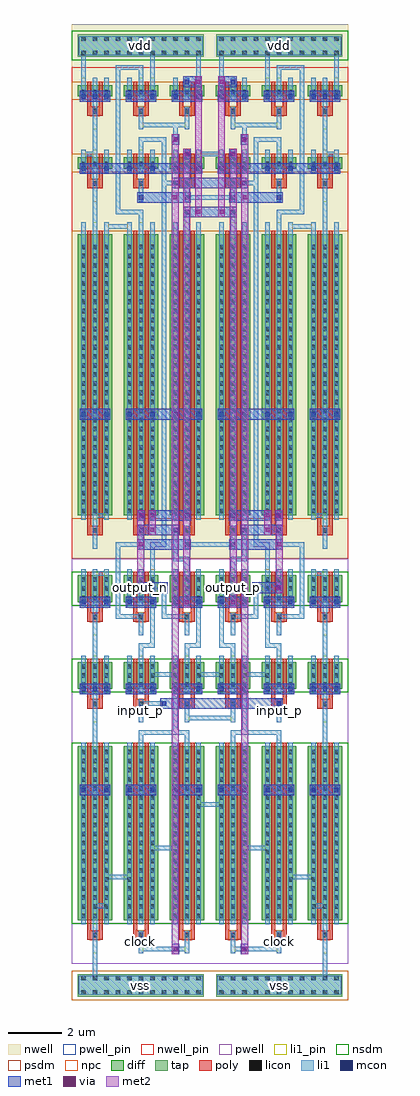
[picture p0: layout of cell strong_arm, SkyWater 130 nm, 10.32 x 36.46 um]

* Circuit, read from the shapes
.subckt strong_arm clock input_n input_p output_n output_p vdd vss
XM1 vss vss vss vss sky130_fd_pr__nfet_01v8 w=6.5 l=0.15 m=4
XM2 vss vss vss vss sky130_fd_pr__nfet_01v8 w=1 l=0.15 m=8
XM3 strong_arm_half_0/tail_d clock vss vss sky130_fd_pr__nfet_01v8 w=6.5 l=0.15 m=8
XM4 strong_arm_half_0/input_d_n input_p strong_arm_half_0/tail_d vss sky130_fd_pr__nfet_01v8 w=1 l=0.15 m=4
XM5 output_n output_p strong_arm_half_0/input_d_n vss sky130_fd_pr__nfet_01v8 w=1 l=0.15 m=4
XM6 strong_arm_half_0/input_d_p input_n strong_arm_half_0/tail_d vss sky130_fd_pr__nfet_01v8 w=1 l=0.15 m=2
XM7 output_p output_n strong_arm_half_0/input_d_p vss sky130_fd_pr__nfet_01v8 w=1 l=0.15 m=2
XM8 strong_arm_half_1/input_d_p input_n strong_arm_half_0/tail_d vss sky130_fd_pr__nfet_01v8 w=1 l=0.15 m=2
XM9 output_p output_n strong_arm_half_1/input_d_p vss sky130_fd_pr__nfet_01v8 w=1 l=0.15 m=2
XM10 vdd vdd vdd vdd sky130_fd_pr__pfet_01v8 w=10.5 l=0.15 m=4
XM11 vdd vdd vdd vdd sky130_fd_pr__pfet_01v8 w=0.42 l=0.15 m=8
XM12 output_n output_p vdd vdd sky130_fd_pr__pfet_01v8 w=10.5 l=0.15 m=4
XM13 strong_arm_half_0/input_d_n clock vdd vdd sky130_fd_pr__pfet_01v8 w=0.42 l=0.15 m=4
XM14 output_n clock vdd vdd sky130_fd_pr__pfet_01v8 w=0.42 l=0.15 m=4
XM15 output_p output_n vdd vdd sky130_fd_pr__pfet_01v8 w=10.5 l=0.15 m=4
XM16 strong_arm_half_0/input_d_p clock vdd vdd sky130_fd_pr__pfet_01v8 w=0.42 l=0.15 m=2
XM17 output_p clock vdd vdd sky130_fd_pr__pfet_01v8 w=0.42 l=0.15 m=4
XM18 strong_arm_half_1/input_d_p clock vdd vdd sky130_fd_pr__pfet_01v8 w=0.42 l=0.15 m=2
.ends

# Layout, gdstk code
from math import pi, radians
import gdstk
lib = gdstk.Library(unit=1e-6, precision=1e-09)
def R(c, l, rs):  # rectangles x0, y0, x1, y1
    for r in rs: c.add(gdstk.rectangle(r[:2], r[2:], *l))
def A(c, l, x, y, w, h, nx, ny, dx, dy):  # array of equal rectangles
    R(c, l, [(x+i*dx, y+j*dy, x+i*dx+w, y+j*dy+h) for i in range(nx) for j in range(ny)])
nwell_pin = (64, 16)
nwell = (64, 20)
pwell = (64, 44)
diff = (65, 20)
tap = (65, 44)
poly = (66, 20)
licon = (66, 44)
li1_pin = (67, 16)
li1 = (67, 20)
mcon = (67, 44)
met1 = (68, 20)
via = (68, 44)
met2 = (69, 20)
nsdm = (93, 44)
psdm = (94, 20)
npc = (95, 20)
pwell_pin = (122, 16)

ptap_tile_x11_y2 = lib.new_cell('ptap_tile_x11_y2')
R(ptap_tile_x11_y2, tap, [(-0.205,-0.15,4.505,0.69)])
A(ptap_tile_x11_y2, licon, -0.085, -0.085, 0.17, 0.17, 11, 2, 0.43, 0.54)
R(ptap_tile_x11_y2, li1_pin, [(-0.165,-0.085,4.465,0.625)])
R(ptap_tile_x11_y2, li1, [(-0.165,-0.085,4.465,0.625)])
R(ptap_tile_x11_y2, psdm, [(-0.43,-0.28,4.73,0.82)])
ptap_tile_x11_y2.add(gdstk.Label('vnb', (2.15,0.27), layer=67, texttype=5))

ptap_tile = lib.new_cell('ptap_tile')
R(ptap_tile, li1_pin, [(-0.165,-0.085,4.465,0.625)])
ptap_tile.add(gdstk.Reference(ptap_tile_x11_y2, (0,0)))
ptap_tile.add(gdstk.Label('x', (2.15,0.27), layer=67, texttype=5))

ntap_tile_x11_y2 = lib.new_cell('ntap_tile_x11_y2')
R(ntap_tile_x11_y2, nwell, [(-0.43,-0.54,4.73,1.08)])
R(ntap_tile_x11_y2, tap, [(-0.205,-0.15,4.505,0.69)])
A(ntap_tile_x11_y2, licon, -0.085, -0.085, 0.17, 0.17, 11, 2, 0.43, 0.54)
R(ntap_tile_x11_y2, li1_pin, [(-0.165,-0.085,4.465,0.625)])
R(ntap_tile_x11_y2, li1, [(-0.165,-0.085,4.465,0.625)])
R(ntap_tile_x11_y2, nsdm, [(-0.43,-0.28,4.73,0.82)])
ntap_tile_x11_y2.add(gdstk.Label('vpb', (2.15,0.27), layer=67, texttype=5))

ntap_tile = lib.new_cell('ntap_tile')
R(ntap_tile, li1_pin, [(-0.165,-0.085,4.465,0.625)])
ntap_tile.add(gdstk.Reference(ntap_tile_x11_y2, (0,0)))
ntap_tile.add(gdstk.Label('x', (2.15,0.27), layer=67, texttype=5))

nmos_tile_w6500_l150_nf2 = lib.new_cell('nmos_tile_w6500_l150_nf2')
R(nmos_tile_w6500_l150_nf2, pwell, [(0,-1.62,1.72,7.02)])
R(nmos_tile_w6500_l150_nf2, diff, [(0.215,0,1.505,6.5)])
R(nmos_tile_w6500_l150_nf2, poly, [(0.57,-0.735,0.945,-0.385), (0.57,-0.735,0.72,6.63), (0.775,-0.735,1.15,-0.385), (1,-0.735,1.15,6.63)])
A(nmos_tile_w6500_l150_nf2, licon, 0.345, 0.08, 0.17, 0.17, 3, 19, 0.43, 0.34)
R(nmos_tile_w6500_l150_nf2, licon, [(0.775,-0.645,0.945,-0.475)])
A(nmos_tile_w6500_l150_nf2, li1_pin, 0.345, -0.155, 0.17, 6.79, 3, 1, 0.43, 0)
R(nmos_tile_w6500_l150_nf2, li1_pin, [(0.775,-1.235,0.945,-0.385)])
A(nmos_tile_w6500_l150_nf2, li1, 0.345, -0.155, 0.17, 6.79, 3, 1, 0.43, 0)
R(nmos_tile_w6500_l150_nf2, li1, [(0.775,-1.235,0.945,-0.385)])
R(nmos_tile_w6500_l150_nf2, nsdm, [(0,-0.13,1.72,6.63)])
R(nmos_tile_w6500_l150_nf2, npc, [(0.675,-0.745,1.045,-0.375)])
R(nmos_tile_w6500_l150_nf2, pwell_pin, [(0,-1.62,1.72,7.02)])
nmos_tile_w6500_l150_nf2.add(gdstk.Label('sd_0', (0.43,3.24), layer=67, texttype=5))
nmos_tile_w6500_l150_nf2.add(gdstk.Label('sd_1', (0.86,3.24), layer=67, texttype=5))
nmos_tile_w6500_l150_nf2.add(gdstk.Label('sd_2', (1.29,3.24), layer=67, texttype=5))
nmos_tile_w6500_l150_nf2.add(gdstk.Label('g_0', (0.86,-0.81), layer=67, texttype=5))
nmos_tile_w6500_l150_nf2.add(gdstk.Label('b', (0.86,2.7), layer=64, texttype=59))

two_finger_mos_tile = lib.new_cell('two_finger_mos_tile')
A(two_finger_mos_tile, li1_pin, 0.345, -0.155, 0.17, 6.79, 3, 1, 0.43, 0)
R(two_finger_mos_tile, li1_pin, [(0.775,-1.235,0.945,-0.385)])
R(two_finger_mos_tile, li1, [(0.345,4.775,0.515,4.945), (0.345,4.775,0.515,4.945), (1.205,4.775,1.375,4.945), (1.205,4.775,1.375,4.945)])
R(two_finger_mos_tile, mcon, [(0.345,4.775,0.515,4.945), (1.205,4.775,1.375,4.945)])
R(two_finger_mos_tile, met1, [(0.285,4.66,0.575,5.06), (0.345,4.66,0.945,5.06), (0.775,4.66,1.375,5.06), (1.145,4.66,1.435,5.06)])
R(two_finger_mos_tile, pwell_pin, [(0,-1.62,1.72,7.02)])
two_finger_mos_tile.add(gdstk.Reference(nmos_tile_w6500_l150_nf2, (0,0)))
two_finger_mos_tile.add(gdstk.Label('d', (0.86,3.24), layer=67, texttype=5))
two_finger_mos_tile.add(gdstk.Label('g', (0.86,-0.81), layer=67, texttype=5))
two_finger_mos_tile.add(gdstk.Label('s', (1.29,3.24), layer=67, texttype=5))
two_finger_mos_tile.add(gdstk.Label('s', (0.43,3.24), layer=67, texttype=5))
two_finger_mos_tile.add(gdstk.Label('b', (0.86,2.7), layer=64, texttype=59))

nmos_tile_w1000_l150_nf2 = lib.new_cell('nmos_tile_w1000_l150_nf2')
R(nmos_tile_w1000_l150_nf2, pwell, [(0,-1.62,1.72,1.62)])
R(nmos_tile_w1000_l150_nf2, diff, [(0.215,0,1.505,1)])
R(nmos_tile_w1000_l150_nf2, poly, [(0.57,-0.735,0.945,-0.385), (0.57,-0.735,0.72,1.13), (0.775,-0.735,1.15,-0.385), (1,-0.735,1.15,1.13)])
A(nmos_tile_w1000_l150_nf2, licon, 0.345, 0.08, 0.17, 0.17, 3, 3, 0.43, 0.34)
R(nmos_tile_w1000_l150_nf2, licon, [(0.775,-0.645,0.945,-0.475)])
A(nmos_tile_w1000_l150_nf2, li1_pin, 0.345, -0.155, 0.17, 1.39, 3, 1, 0.43, 0)
R(nmos_tile_w1000_l150_nf2, li1_pin, [(0.775,-1.235,0.945,-0.385)])
A(nmos_tile_w1000_l150_nf2, li1, 0.345, -0.155, 0.17, 1.39, 3, 1, 0.43, 0)
R(nmos_tile_w1000_l150_nf2, li1, [(0.775,-1.235,0.945,-0.385)])
R(nmos_tile_w1000_l150_nf2, nsdm, [(0,-0.13,1.72,1.13)])
R(nmos_tile_w1000_l150_nf2, npc, [(0.675,-0.745,1.045,-0.375)])
R(nmos_tile_w1000_l150_nf2, pwell_pin, [(0,-1.62,1.72,1.62)])
nmos_tile_w1000_l150_nf2.add(gdstk.Label('sd_0', (0.43,0.54), layer=67, texttype=5))
nmos_tile_w1000_l150_nf2.add(gdstk.Label('sd_1', (0.86,0.54), layer=67, texttype=5))
nmos_tile_w1000_l150_nf2.add(gdstk.Label('sd_2', (1.29,0.54), layer=67, texttype=5))
nmos_tile_w1000_l150_nf2.add(gdstk.Label('g_0', (0.86,-0.81), layer=67, texttype=5))
nmos_tile_w1000_l150_nf2.add(gdstk.Label('b', (0.86,0), layer=64, texttype=59))

two_finger_mos_tile_1 = lib.new_cell('two_finger_mos_tile_1')
A(two_finger_mos_tile_1, li1_pin, 0.345, -0.155, 0.17, 1.39, 3, 1, 0.43, 0)
R(two_finger_mos_tile_1, li1_pin, [(0.775,-1.235,0.945,-0.385)])
R(two_finger_mos_tile_1, li1, [(0.345,-0.085,0.515,0.085), (0.345,-0.085,0.515,0.085), (1.205,-0.085,1.375,0.085), (1.205,-0.085,1.375,0.085)])
R(two_finger_mos_tile_1, mcon, [(0.345,-0.085,0.515,0.085), (1.205,-0.085,1.375,0.085)])
R(two_finger_mos_tile_1, met1, [(0.285,-0.2,0.575,0.2), (0.345,-0.2,0.945,0.2), (0.775,-0.2,1.375,0.2), (1.145,-0.2,1.435,0.2)])
R(two_finger_mos_tile_1, pwell_pin, [(0,-1.62,1.72,1.62)])
two_finger_mos_tile_1.add(gdstk.Reference(nmos_tile_w1000_l150_nf2, (0,0)))
two_finger_mos_tile_1.add(gdstk.Label('d', (0.86,0.54), layer=67, texttype=5))
two_finger_mos_tile_1.add(gdstk.Label('g', (0.86,-0.81), layer=67, texttype=5))
two_finger_mos_tile_1.add(gdstk.Label('s', (1.29,0.54), layer=67, texttype=5))
two_finger_mos_tile_1.add(gdstk.Label('s', (0.43,0.54), layer=67, texttype=5))
two_finger_mos_tile_1.add(gdstk.Label('b', (0.86,0), layer=64, texttype=59))

pmos_tile_w10500_l150_nf = lib.new_cell('pmos_tile_w10500_l150_nf2')
R(pmos_tile_w10500_l150_nf, nwell_pin, [(0,-1.62,1.72,11.34)])
R(pmos_tile_w10500_l150_nf, nwell, [(0,-1.62,1.72,11.34)])
R(pmos_tile_w10500_l150_nf, diff, [(0.215,0,1.505,10.5)])
R(pmos_tile_w10500_l150_nf, poly, [(0.57,-0.735,0.945,-0.385), (0.57,-0.735,0.72,10.63), (0.775,-0.735,1.15,-0.385), (1,-0.735,1.15,10.63)])
A(pmos_tile_w10500_l150_nf, licon, 0.345, 0.08, 0.17, 0.17, 3, 30, 0.43, 0.34)
R(pmos_tile_w10500_l150_nf, licon, [(0.775,-0.645,0.945,-0.475)])
A(pmos_tile_w10500_l150_nf, li1_pin, 0.345, -0.155, 0.17, 11.11, 3, 1, 0.43, 0)
R(pmos_tile_w10500_l150_nf, li1_pin, [(0.775,-1.235,0.945,-0.385)])
A(pmos_tile_w10500_l150_nf, li1, 0.345, -0.155, 0.17, 11.11, 3, 1, 0.43, 0)
R(pmos_tile_w10500_l150_nf, li1, [(0.775,-1.235,0.945,-0.385)])
R(pmos_tile_w10500_l150_nf, psdm, [(0,-0.13,1.72,10.63)])
R(pmos_tile_w10500_l150_nf, npc, [(0.675,-0.745,1.045,-0.375)])
pmos_tile_w10500_l150_nf.add(gdstk.Label('sd_0', (0.43,5.4), layer=67, texttype=5))
pmos_tile_w10500_l150_nf.add(gdstk.Label('sd_1', (0.86,5.4), layer=67, texttype=5))
pmos_tile_w10500_l150_nf.add(gdstk.Label('sd_2', (1.29,5.4), layer=67, texttype=5))
pmos_tile_w10500_l150_nf.add(gdstk.Label('g_0', (0.86,-0.81), layer=67, texttype=5))
pmos_tile_w10500_l150_nf.add(gdstk.Label('b', (0.86,4.86), layer=64, texttype=5))

two_finger_mos_tile_2 = lib.new_cell('two_finger_mos_tile_2')
R(two_finger_mos_tile_2, nwell_pin, [(0,-1.62,1.72,11.34)])
A(two_finger_mos_tile_2, li1_pin, 0.345, -0.155, 0.17, 11.11, 3, 1, 0.43, 0)
R(two_finger_mos_tile_2, li1_pin, [(0.775,-1.235,0.945,-0.385)])
R(two_finger_mos_tile_2, li1, [(0.345,3.695,0.515,3.865), (0.345,3.695,0.515,3.865), (1.205,3.695,1.375,3.865), (1.205,3.695,1.375,3.865)])
R(two_finger_mos_tile_2, mcon, [(0.345,3.695,0.515,3.865), (1.205,3.695,1.375,3.865)])
R(two_finger_mos_tile_2, met1, [(0.285,3.58,0.575,3.98), (0.345,3.58,0.945,3.98), (0.775,3.58,1.375,3.98), (1.145,3.58,1.435,3.98)])
two_finger_mos_tile_2.add(gdstk.Reference(pmos_tile_w10500_l150_nf, (0,0)))
two_finger_mos_tile_2.add(gdstk.Label('d', (0.86,5.4), layer=67, texttype=5))
two_finger_mos_tile_2.add(gdstk.Label('g', (0.86,-0.81), layer=67, texttype=5))
two_finger_mos_tile_2.add(gdstk.Label('s', (1.29,5.4), layer=67, texttype=5))
two_finger_mos_tile_2.add(gdstk.Label('s', (0.43,5.4), layer=67, texttype=5))
two_finger_mos_tile_2.add(gdstk.Label('b', (0.86,4.86), layer=64, texttype=5))

pmos_tile_w420_l150_nf2 = lib.new_cell('pmos_tile_w420_l150_nf2')
R(pmos_tile_w420_l150_nf2, nwell_pin, [(0,-1.62,1.72,1.08)])
R(pmos_tile_w420_l150_nf2, nwell, [(0,-1.62,1.72,1.08)])
R(pmos_tile_w420_l150_nf2, diff, [(0.215,0,1.505,0.42)])
R(pmos_tile_w420_l150_nf2, poly, [(0.57,-0.735,0.945,-0.385), (0.57,-0.735,0.72,0.55), (0.775,-0.735,1.15,-0.385), (1,-0.735,1.15,0.55)])
A(pmos_tile_w420_l150_nf2, licon, 0.345, 0.08, 0.17, 0.17, 3, 1, 0.43, 0)
R(pmos_tile_w420_l150_nf2, licon, [(0.775,-0.645,0.945,-0.475)])
A(pmos_tile_w420_l150_nf2, li1_pin, 0.345, -0.155, 0.17, 0.85, 3, 1, 0.43, 0)
R(pmos_tile_w420_l150_nf2, li1_pin, [(0.775,-1.235,0.945,-0.385)])
A(pmos_tile_w420_l150_nf2, li1, 0.345, -0.155, 0.17, 0.85, 3, 1, 0.43, 0)
R(pmos_tile_w420_l150_nf2, li1, [(0.775,-1.235,0.945,-0.385)])
R(pmos_tile_w420_l150_nf2, psdm, [(0,-0.13,1.72,0.55)])
R(pmos_tile_w420_l150_nf2, npc, [(0.675,-0.745,1.045,-0.375)])
pmos_tile_w420_l150_nf2.add(gdstk.Label('sd_0', (0.43,0.27), layer=67, texttype=5))
pmos_tile_w420_l150_nf2.add(gdstk.Label('sd_1', (0.86,0.27), layer=67, texttype=5))
pmos_tile_w420_l150_nf2.add(gdstk.Label('sd_2', (1.29,0.27), layer=67, texttype=5))
pmos_tile_w420_l150_nf2.add(gdstk.Label('g_0', (0.86,-0.81), layer=67, texttype=5))
pmos_tile_w420_l150_nf2.add(gdstk.Label('b', (0.86,-0.27), layer=64, texttype=5))

two_finger_mos_tile_3 = lib.new_cell('two_finger_mos_tile_3')
R(two_finger_mos_tile_3, nwell_pin, [(0,-1.62,1.72,1.08)])
A(two_finger_mos_tile_3, li1_pin, 0.345, -0.155, 0.17, 0.85, 3, 1, 0.43, 0)
R(two_finger_mos_tile_3, li1_pin, [(0.775,-1.235,0.945,-0.385)])
R(two_finger_mos_tile_3, li1, [(0.345,-0.085,0.515,0.085), (0.345,-0.085,0.515,0.085), (1.205,-0.085,1.375,0.085), (1.205,-0.085,1.375,0.085)])
R(two_finger_mos_tile_3, mcon, [(0.345,-0.085,0.515,0.085), (1.205,-0.085,1.375,0.085)])
R(two_finger_mos_tile_3, met1, [(0.285,-0.2,0.575,0.2), (0.345,-0.2,0.945,0.2), (0.775,-0.2,1.375,0.2), (1.145,-0.2,1.435,0.2)])
two_finger_mos_tile_3.add(gdstk.Reference(pmos_tile_w420_l150_nf2, (0,0)))
two_finger_mos_tile_3.add(gdstk.Label('d', (0.86,0.27), layer=67, texttype=5))
two_finger_mos_tile_3.add(gdstk.Label('g', (0.86,-0.81), layer=67, texttype=5))
two_finger_mos_tile_3.add(gdstk.Label('s', (1.29,0.27), layer=67, texttype=5))
two_finger_mos_tile_3.add(gdstk.Label('s', (0.43,0.27), layer=67, texttype=5))
two_finger_mos_tile_3.add(gdstk.Label('b', (0.86,-0.27), layer=64, texttype=5))

strong_arm_half = lib.new_cell('strong_arm_half')
R(strong_arm_half, li1_pin, [(-0.165,-35.185,4.465,-34.475), (2.065,-33.635,2.235,-32.785), (2.065,-32.555,2.235,-25.765), (2.065,-24.995,2.235,-24.145), (3.785,-24.995,3.955,-24.145), (2.065,-23.915,2.235,-22.525), (3.785,-23.915,3.955,-22.525), (2.065,-20.675,2.235,-19.285), (3.785,-20.675,3.955,-19.285), (-0.165,-0.085,4.465,0.625)])
A(strong_arm_half, li1, 2.065, -33.565, 0.6, 0.17, 4, 2, 0.43, 8.1)
A(strong_arm_half, li1, 0.345, -26.005, 0.17, 0.71, 3, 2, 1.72, 3.24)
A(strong_arm_half, li1, 3.355, -25.465, 0.17, 0.71, 1, 3, 0, 0.54)
A(strong_arm_half, li1, 2.495, -22.225, 0.17, 0.71, 1, 3, 0, 0.54)
A(strong_arm_half, li1, 4.215, -22.225, 0.17, 0.71, 1, 3, 0, 0.54)
A(strong_arm_half, li1, 1.205, -21.145, 0.17, 0.71, 1, 3, 0, 0.54)
A(strong_arm_half, li1, 1.205, -19.525, 0.17, 0.71, 3, 1, 1.29, 0)
A(strong_arm_half, li1, 2.925, -18.445, 0.17, 0.71, 1, 22, 0, 0.54)
A(strong_arm_half, li1, 2.065, -6.565, 0.17, 0.71, 3, 1, 0.86, 0)
A(strong_arm_half, li1, 1.205, -6.025, 0.17, 0.71, 1, 4, 0, 0.54)
A(strong_arm_half, li1, 2.925, -6.025, 0.17, 0.71, 1, 4, 0, 0.54)
A(strong_arm_half, li1, 0.345, -3.865, 0.17, 0.71, 4, 1, 0.86, 0)
A(strong_arm_half, li1, 1.205, -3.325, 0.17, 0.71, 1, 5, 0, 0.54)
A(strong_arm_half, li1, 2.065, -2.785, 0.6, 0.17, 4, 1, 0.43, 0)
R(strong_arm_half, li1, [(0.345,-34.645,0.515,-33.935), (0.345,-34.105,0.515,-33.395), (3.355,-33.565,3.525,-33.395), (3.355,-33.565,3.525,-33.395), (0.345,-33.025,0.515,-32.315), (0.345,-31.945,0.945,-31.775), (0.775,-30.865,1.375,-30.695), (1.205,-30.865,1.805,-30.695), (2.495,-29.785,3.095,-29.615), (2.925,-29.785,3.525,-29.615), (0.345,-25.465,0.515,-24.755), (0.345,-24.385,0.515,-23.675), (0.345,-23.845,0.515,-23.675), (0.345,-23.845,0.515,-23.675), (2.495,-23.305,3.095,-23.135), (2.925,-23.305,3.525,-23.135), (0.345,-22.225,0.515,-21.515), (2.065,-22.225,2.665,-22.055), (3.785,-22.225,4.385,-22.055), (0.345,-21.145,0.515,-20.435), (1.205,-21.145,1.805,-20.975), (1.635,-21.145,2.235,-20.975), (2.925,-21.145,3.095,-20.435), (2.925,-21.145,3.525,-20.975), (3.355,-21.145,3.955,-20.975), (2.925,-20.605,3.095,-19.895), (2.065,-20.065,2.235,-19.895), (2.065,-20.065,2.235,-19.895), (2.925,-20.065,3.095,-19.895), (2.925,-20.065,3.095,-19.895), (0.345,-19.525,0.945,-19.355), (1.205,-18.985,1.375,-18.275), (2.495,-18.985,2.665,-18.275), (3.355,-18.985,3.525,-18.275), (3.355,-18.985,3.955,-18.815), (1.205,-18.445,1.805,-18.275), (1.635,-18.445,2.235,-18.275), (2.495,-18.445,3.095,-18.275), (3.355,-18.445,3.525,-17.735), (3.785,-18.445,3.955,-18.275), (3.785,-18.445,3.955,-18.275), (0.345,-17.905,0.515,-17.195), (2.065,-17.905,2.235,-17.735), (2.065,-17.905,2.235,-17.735), (3.355,-17.905,3.525,-17.735), (3.355,-17.905,3.525,-17.735), (0.345,-17.365,0.945,-17.195), (2.065,-17.365,2.235,-17.195), (2.065,-17.365,2.235,-17.195), (3.785,-17.365,3.955,-17.195), (3.785,-17.365,3.955,-17.195), (0.345,-6.565,0.515,-5.855), (0.775,-6.565,1.375,-6.395), (1.205,-6.565,1.805,-6.395), (0.345,-6.025,0.515,-5.315), (1.205,-6.025,1.805,-5.855), (1.635,-6.025,2.235,-5.855), (3.785,-6.025,3.955,-5.855), (3.785,-6.025,3.955,-5.855), (2.065,-5.485,2.235,-5.315), (2.065,-5.485,2.235,-5.315), (3.785,-5.485,3.955,-5.315), (3.785,-5.485,3.955,-5.315), (0.345,-4.945,0.515,-4.235), (-0.085,-3.865,0.515,-3.695), (3.785,-3.865,3.955,-3.695), (3.785,-3.865,3.955,-3.695), (0.345,-3.325,0.515,-2.615), (2.065,-3.325,2.665,-3.155), (2.495,-3.325,3.095,-3.155), (3.355,-3.325,3.525,-2.615), (3.355,-3.325,3.525,-3.155), (3.355,-3.325,3.525,-3.155), (0.345,-2.245,0.515,-1.535), (0.345,-1.705,0.515,-1.535), (0.345,-1.705,0.515,-1.535), (-0.085,-1.165,0.085,-0.455), (2.065,-1.165,2.235,-0.455), (2.495,-1.165,2.665,-0.455), (3.785,-1.165,3.955,-0.995), (3.785,-1.165,3.955,-0.995), (4.215,-1.165,4.385,-0.455), (-0.085,-0.625,0.085,0.085), (1.205,-0.625,1.805,-0.455), (1.635,-0.625,2.235,-0.455), (2.495,-0.625,2.665,0.085), (4.215,-0.625,4.385,0.085)])
R(strong_arm_half, mcon, [(3.355,-33.565,3.525,-33.395), (0.345,-23.845,0.515,-23.675), (2.065,-20.065,2.235,-19.895), (2.925,-20.065,3.095,-19.895), (3.785,-18.445,3.955,-18.275), (2.065,-17.905,2.235,-17.735), (3.355,-17.905,3.525,-17.735), (2.065,-17.365,2.235,-17.195), (3.785,-17.365,3.955,-17.195), (3.785,-6.025,3.955,-5.855), (2.065,-5.485,2.235,-5.315), (3.785,-5.485,3.955,-5.315), (3.785,-3.865,3.955,-3.695), (3.355,-3.325,3.525,-3.155), (0.345,-1.705,0.515,-1.535), (3.785,-1.165,3.955,-0.995)])
A(strong_arm_half, met1, 2.065, -18.56, 0.6, 0.4, 4, 2, 0.43, 12.96)
A(strong_arm_half, met1, 2.065, -18.02, 0.6, 0.4, 3, 1, 0.43, 0)
A(strong_arm_half, met1, 2.495, -17.48, 0.6, 0.4, 3, 1, 0.43, 0)
R(strong_arm_half, met1, [(3.295,-33.68,3.585,-33.28), (3.31,-33.68,3.57,-33.28), (3.355,-33.68,3.525,-33.28), (0.285,-23.96,0.575,-23.56), (3.74,-20.72,4,-20.32), (3.785,-20.72,3.955,-20.32), (2.005,-20.18,2.295,-19.78), (2.02,-20.18,2.28,-19.78), (2.065,-20.18,2.235,-19.78), (2.065,-20.18,2.665,-19.78), (2.495,-20.18,3.095,-19.78), (2.865,-20.18,3.155,-19.78), (2.02,-18.56,2.28,-18.16), (2.065,-18.56,2.235,-18.16), (3.725,-18.56,4.015,-18.16), (2.005,-18.02,2.295,-17.62), (2.45,-18.02,2.71,-17.62), (2.495,-18.02,2.665,-17.62), (3.295,-18.02,3.585,-17.62), (2.005,-17.48,2.295,-17.08), (2.02,-17.48,2.28,-17.08), (2.065,-17.48,2.235,-17.08), (2.45,-17.48,2.71,-17.08), (2.495,-17.48,2.665,-17.08), (3.725,-17.48,4.015,-17.08), (2.495,-13.7,3.095,-13.3), (2.925,-13.7,3.525,-13.3), (3.725,-6.14,4.015,-5.74), (3.785,-6.14,4.385,-5.74), (4.17,-6.14,4.43,-5.74), (4.215,-6.14,4.385,-5.74), (2.005,-5.6,2.295,-5.2), (3.31,-5.6,3.57,-5.2), (3.355,-5.6,3.525,-5.2), (3.725,-5.6,4.015,-5.2), (0.775,-4.52,1.375,-4.12), (1.205,-4.52,1.805,-4.12), (2.495,-4.52,3.095,-4.12), (2.925,-4.52,3.525,-4.12), (3.725,-3.98,4.015,-3.58), (3.74,-3.98,4,-3.58), (3.785,-3.98,3.955,-3.58), (3.295,-3.44,3.585,-3.04), (3.31,-3.44,3.57,-3.04), (3.355,-3.44,3.525,-3.04), (0.285,-1.82,0.575,-1.42), (3.725,-1.28,4.015,-0.88), (3.785,-1.28,4.385,-0.88), (4.17,-1.28,4.43,-0.88), (4.215,-1.28,4.385,-0.88)])
R(strong_arm_half, via, [(3.365,-33.555,3.515,-33.405), (3.795,-20.595,3.945,-20.445), (2.075,-20.055,2.225,-19.905), (2.075,-18.435,2.225,-18.285), (2.505,-17.895,2.655,-17.745), (2.075,-17.355,2.225,-17.205), (2.505,-17.355,2.655,-17.205), (4.225,-6.015,4.375,-5.865), (3.365,-5.475,3.515,-5.325), (3.795,-3.855,3.945,-3.705), (3.365,-3.315,3.515,-3.165), (4.225,-1.155,4.375,-1.005)])
A(strong_arm_half, met2, 3.31, -33.61, 0.26, 0.8, 1, 51, 0, 0.54)
A(strong_arm_half, met2, 3.74, -20.65, 0.26, 0.8, 1, 27, 0, 0.54)
A(strong_arm_half, met2, 2.02, -20.11, 0.26, 0.8, 1, 5, 0, 0.54)
A(strong_arm_half, met2, 3.31, -6.07, 0.26, 0.8, 3, 4, 0.43, 0.54)
A(strong_arm_half, met2, 4.17, -3.91, 0.26, 0.8, 1, 5, 0, 0.54)
R(strong_arm_half, met2, [(3.31,-33.68,3.57,-33.28), (3.74,-20.72,4,-20.32), (2.02,-20.18,2.28,-19.78), (2.02,-18.56,2.28,-18.16), (2.45,-18.02,2.71,-17.62), (2.45,-17.95,2.71,-17.15), (2.02,-17.48,2.28,-17.08), (2.45,-17.48,2.71,-17.08), (4.17,-6.14,4.43,-5.74), (3.31,-5.6,3.57,-5.2), (3.74,-3.98,4,-3.58), (3.31,-3.91,3.57,-3.11), (3.31,-3.44,3.57,-3.04), (4.17,-1.28,4.43,-0.88)])
strong_arm_half.add(gdstk.Reference(ptap_tile, (0,-35.1)))
strong_arm_half.add(gdstk.Reference(ntap_tile, (0,0)))
strong_arm_half.add(gdstk.Reference(two_finger_mos_tile, (1.29,-32.4)))
strong_arm_half.add(gdstk.Reference(two_finger_mos_tile, (3.01,-32.4)))
strong_arm_half.add(gdstk.Reference(two_finger_mos_tile, (-0.43,-32.4)))
strong_arm_half.add(gdstk.Reference(two_finger_mos_tile_1, (1.29,-23.76)))
strong_arm_half.add(gdstk.Reference(two_finger_mos_tile_1, (3.01,-23.76)))
strong_arm_half.add(gdstk.Reference(two_finger_mos_tile_1, (-0.43,-23.76)))
strong_arm_half.add(gdstk.Reference(two_finger_mos_tile_1, (1.29,-20.52)))
strong_arm_half.add(gdstk.Reference(two_finger_mos_tile_1, (3.01,-20.52)))
strong_arm_half.add(gdstk.Reference(two_finger_mos_tile_1, (-0.43,-20.52)))
strong_arm_half.add(gdstk.Reference(two_finger_mos_tile_2, (1.29,-17.28)))
strong_arm_half.add(gdstk.Reference(two_finger_mos_tile_2, (3.01,-17.28)))
strong_arm_half.add(gdstk.Reference(two_finger_mos_tile_2, (-0.43,-17.28)))
strong_arm_half.add(gdstk.Reference(two_finger_mos_tile_3, (1.29,-1.62)))
strong_arm_half.add(gdstk.Reference(two_finger_mos_tile_3, (3.01,-1.62)))
strong_arm_half.add(gdstk.Reference(two_finger_mos_tile_3, (-0.43,-1.62)))
strong_arm_half.add(gdstk.Reference(two_finger_mos_tile_3, (1.29,-4.32)))
strong_arm_half.add(gdstk.Reference(two_finger_mos_tile_3, (3.01,-4.32)))
strong_arm_half.add(gdstk.Reference(two_finger_mos_tile_3, (-0.43,-4.32)))
strong_arm_half.add(gdstk.Label('top_io_input_p', (2.15,-24.57), layer=67, texttype=5))
strong_arm_half.add(gdstk.Label('top_io_input_n', (3.87,-24.57), layer=67, texttype=5))
strong_arm_half.add(gdstk.Label('top_io_output_p', (3.87,-19.98), layer=67, texttype=5))
strong_arm_half.add(gdstk.Label('top_io_output_n', (2.15,-19.98), layer=67, texttype=5))
strong_arm_half.add(gdstk.Label('top_io_clock', (2.15,-33.21), layer=67, texttype=5))
strong_arm_half.add(gdstk.Label('top_io_vdd', (2.15,0.27), layer=67, texttype=5))
strong_arm_half.add(gdstk.Label('top_io_vss', (2.15,-34.83), layer=67, texttype=5))
strong_arm_half.add(gdstk.Label('input_d_p', (3.87,-23.22), layer=67, texttype=5))
strong_arm_half.add(gdstk.Label('input_d_n', (2.15,-23.22), layer=67, texttype=5))
strong_arm_half.add(gdstk.Label('tail_d', (2.15,-29.16), layer=67, texttype=5))

strong_arm = lib.new_cell('strong_arm')
A(strong_arm, li1_pin, 2.065, -24.995, 0.17, 0.85, 4, 1, 1.72, 0)
A(strong_arm, li1_pin, 2.065, -20.675, 0.17, 1.39, 4, 1, 1.72, 0)
R(strong_arm, li1_pin, [(-0.165,-35.185,4.465,-34.475), (4.995,-35.185,9.625,-34.475), (2.065,-33.635,2.235,-32.785), (7.225,-33.635,7.395,-32.785), (-0.165,-0.085,4.465,0.625), (4.995,-0.085,9.625,0.625)])
A(strong_arm, li1, 3.785, -24.925, 0.6, 0.17, 4, 2, 0.43, 6.48)
A(strong_arm, li1, 3.785, -5.485, 0.6, 0.17, 4, 1, 0.43, 0)
R(strong_arm, li1, [(4.215,-28.165,4.815,-27.995), (4.645,-28.165,5.245,-27.995), (2.065,-24.385,2.665,-24.215), (2.495,-24.385,3.095,-24.215), (2.925,-24.385,3.095,-24.215), (2.925,-24.385,3.095,-24.215), (7.225,-24.385,7.395,-24.215), (7.225,-24.385,7.395,-24.215), (4.215,-23.305,4.815,-23.135), (4.645,-23.305,5.245,-23.135), (2.925,-4.945,3.525,-4.775), (3.355,-4.945,3.525,-4.775), (3.355,-4.945,3.525,-4.775), (5.935,-4.945,6.535,-4.775), (5.935,-4.945,6.105,-4.775), (5.935,-4.945,6.105,-4.775), (4.215,-3.865,4.815,-3.695), (4.645,-3.865,5.245,-3.695)])
R(strong_arm, mcon, [(2.925,-24.385,3.095,-24.215), (7.225,-24.385,7.395,-24.215), (3.355,-4.945,3.525,-4.775), (5.935,-4.945,6.105,-4.775)])
A(strong_arm, met1, 2.925, -24.5, 0.6, 0.4, 10, 1, 0.43, 0)
A(strong_arm, met1, 3.355, -5.06, 0.6, 0.4, 6, 1, 0.43, 0)
R(strong_arm, met1, [(2.865,-24.5,3.155,-24.1), (7.165,-24.5,7.455,-24.1), (4.215,-6.14,4.815,-5.74), (4.645,-6.14,5.245,-5.74), (3.295,-5.06,3.585,-4.66), (5.875,-5.06,6.165,-4.66)])
strong_arm.add(gdstk.Reference(strong_arm_half, (0,0)))
strong_arm.add(gdstk.Reference(strong_arm_half, (9.46,0), rotation=pi, x_reflection=True))
strong_arm.add(gdstk.Label('input_p', (7.31,-24.57), layer=67, texttype=5))
strong_arm.add(gdstk.Label('input_p', (2.15,-24.57), layer=67, texttype=5))
strong_arm.add(gdstk.Label('input_n', (5.59,-24.57), layer=67, texttype=5))
strong_arm.add(gdstk.Label('input_n', (3.87,-24.57), layer=67, texttype=5))
strong_arm.add(gdstk.Label('output_p', (5.59,-19.98), layer=67, texttype=5))
strong_arm.add(gdstk.Label('output_p', (3.87,-19.98), layer=67, texttype=5))
strong_arm.add(gdstk.Label('output_n', (7.31,-19.98), layer=67, texttype=5))
strong_arm.add(gdstk.Label('output_n', (2.15,-19.98), layer=67, texttype=5))
strong_arm.add(gdstk.Label('clock', (7.31,-33.21), layer=67, texttype=5))
strong_arm.add(gdstk.Label('clock', (2.15,-33.21), layer=67, texttype=5))
strong_arm.add(gdstk.Label('vdd', (7.31,0.27), layer=67, texttype=5))
strong_arm.add(gdstk.Label('vdd', (2.15,0.27), layer=67, texttype=5))
strong_arm.add(gdstk.Label('vss', (7.31,-34.83), layer=67, texttype=5))
strong_arm.add(gdstk.Label('vss', (2.15,-34.83), layer=67, texttype=5))

lib.write_gds('strong_arm.gds')
